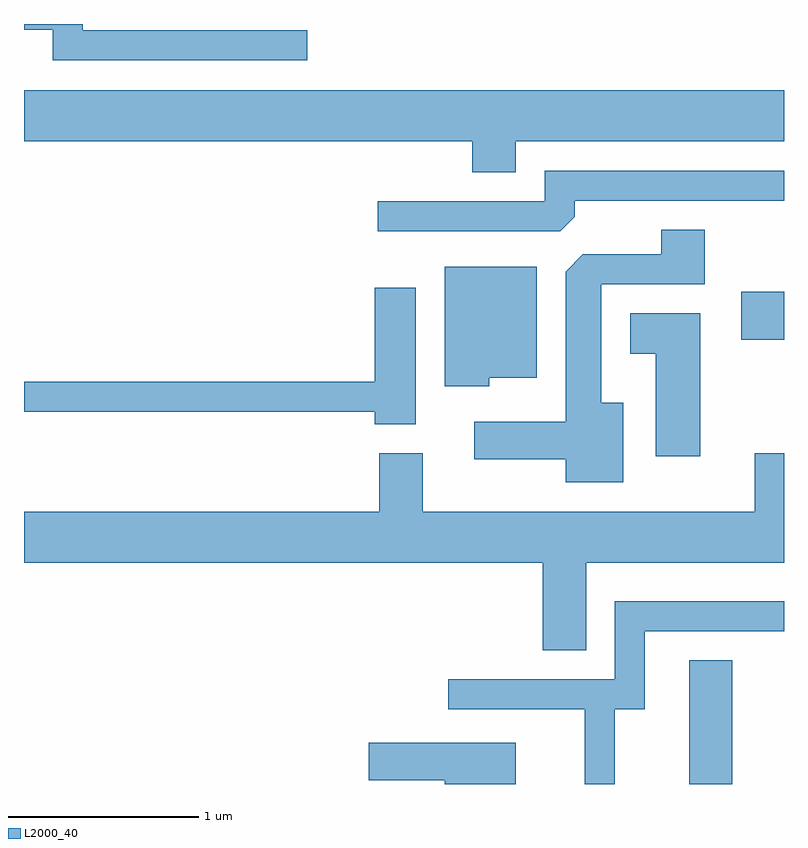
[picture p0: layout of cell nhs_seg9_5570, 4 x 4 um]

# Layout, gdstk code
import gdstk
lib = gdstk.Library(unit=1e-6, precision=1e-09)
def R(c, l, rs):  # rectangles x0, y0, x1, y1
    for r in rs: c.add(gdstk.rectangle(r[:2], r[2:], *l))
def P(c, l, *ps):  # polygons
    for p in ps: c.add(gdstk.Polygon(p, *l))
L2000_40 = (2000, 40)

nhs_seg9_5570 = lib.new_cell('nhs_seg9_5570')
R(nhs_seg9_5570, L2000_40, [(353.111,1988.432,353.339,1989.084), (353.386,1990.771,353.611,1991.024)])
P(nhs_seg9_5570, L2000_40, [(351.103,1992.399),(349.919,1992.399),(349.919,1992.432),(349.611,1992.432),(349.611,1992.401),(349.761,1992.401),(349.761,1992.241),(351.103,1992.241)],
  [(352.199,1991.816),(353.611,1991.816),(353.611,1992.084),(349.611,1992.084),(349.611,1991.816),(351.971,1991.816),(351.971,1991.651),(352.199,1991.651)],
  [(352.509,1991.417),(352.509,1991.501),(353.611,1991.501),(353.611,1991.659),(352.351,1991.659),(352.351,1991.499),(351.473,1991.499),(351.473,1991.341),(352.434,1991.341)],
  [(352.764,1990.439),(352.649,1990.439),(352.649,1991.061),(353.194,1991.061),(353.194,1991.349),(352.966,1991.349),(352.966,1991.219),(352.552,1991.219),(352.461,1991.129),(352.461,1990.339),(351.981,1990.339),(351.981,1990.141),(352.461,1990.141),(352.461,1990.021),(352.764,1990.021)],
  [(352.059,1990.571),(352.309,1990.571),(352.309,1991.154),(351.826,1991.154),(351.826,1990.526),(352.059,1990.526)],
  [(351.674,1991.044),(351.456,1991.044),(351.456,1990.549),(349.611,1990.549),(349.611,1990.391),(351.456,1990.391),(351.456,1990.326),(351.674,1990.326)],
  [(353.169,1990.909),(352.801,1990.909),(352.801,1990.696),(352.936,1990.696),(352.936,1990.156),(353.169,1990.156)],
  [(352.569,1989.596),(353.611,1989.596),(353.611,1990.174),(353.456,1990.174),(353.456,1989.864),(351.709,1989.864),(351.709,1990.174),(351.481,1990.174),(351.481,1989.864),(349.611,1989.864),(349.611,1989.596),(352.341,1989.596),(352.341,1989.136),(352.569,1989.136)],
  [(352.719,1988.826),(352.879,1988.826),(352.879,1989.236),(353.611,1989.236),(353.611,1989.394),(352.721,1989.394),(352.721,1988.984),(351.843,1988.984),(351.843,1988.826),(352.561,1988.826),(352.561,1988.432),(352.719,1988.432)],
  [(352.199,1988.649),(351.426,1988.649),(351.426,1988.451),(351.826,1988.451),(351.826,1988.432),(352.199,1988.432)])

lib.write_gds('nhs_seg9_5570.gds')
